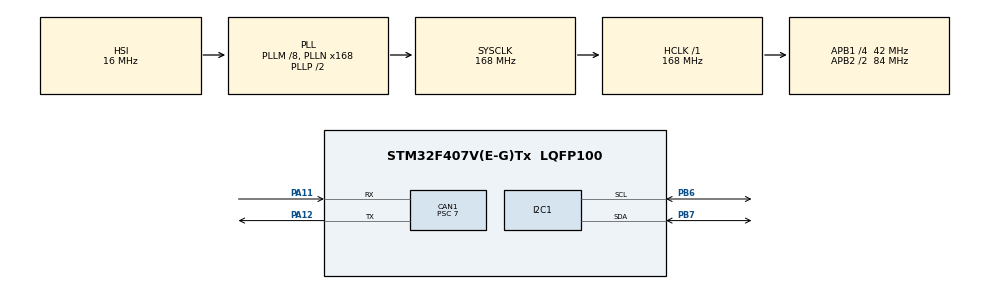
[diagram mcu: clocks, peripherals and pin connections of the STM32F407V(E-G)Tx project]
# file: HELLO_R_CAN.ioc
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CAN1.BS1=CAN_BS1_8TQ
CAN1.BS2=CAN_BS2_3TQ
CAN1.CalculateBaudRate=499999
CAN1.CalculateTimeBit=2000
CAN1.CalculateTimeQuantum=166.66666666666669
CAN1.Prescaler=7
Mcu.Family=STM32F4
Mcu.Name=STM32F407V(E-G)Tx
Mcu.Package=LQFP100
NVIC.PriorityGroup=NVIC_PRIORITYGROUP_0
PA11.Mode=CAN_Activate
PA11.Signal=CAN1_RX
PA12.Mode=CAN_Activate
PA12.Signal=CAN1_TX
PB6.Mode=I2C
PB6.Signal=I2C1_SCL
PB7.Mode=I2C
PB7.Signal=I2C1_SDA
ProjectManager.HeapSize=0x200
ProjectManager.StackSize=0x400
ProjectManager.TargetToolchain=STM32CubeIDE
RCC.48MHZClocksFreq_Value=48000000
RCC.AHBFreq_Value=168000000
RCC.APB1CLKDivider=RCC_HCLK_DIV4
RCC.APB1Freq_Value=42000000
RCC.APB1TimFreq_Value=84000000
RCC.APB2CLKDivider=RCC_HCLK_DIV2
RCC.APB2Freq_Value=84000000
RCC.APB2TimFreq_Value=168000000
RCC.CortexFreq_Value=168000000
RCC.HCLKFreq_Value=168000000
RCC.HSE_VALUE=8000000
RCC.HSI_VALUE=16000000
RCC.PLLM=8
RCC.PLLN=168
RCC.PLLQ=7
RCC.SYSCLKFreq_VALUE=168000000
RCC.SYSCLKSource=RCC_SYSCLKSOURCE_PLLCLK
RCC.VCOOutputFreq_Value=336000000
board=STM32F407G-DISC1

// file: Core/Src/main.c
/* USER CODE BEGIN Header */
/**
  ******************************************************************************
  * @file           : main.c
  * @brief          : Main program body
  ******************************************************************************
  * @attention
  *
  * Copyright (c) 2026 STMicroelectronics.
  * All rights reserved.
  *
  * This software is licensed under terms that can be found in the LICENSE file
  * in the root directory of this software component.
  * If no LICENSE file comes with this software, it is provided AS-IS.
  *
  ******************************************************************************
  */
/* USER CODE END Header */
#include "main.h"

/* USER CODE BEGIN Includes */
#include "lcd.h"
#include <string.h>
/* USER CODE END Includes */

CAN_HandleTypeDef hcan1;

I2C_HandleTypeDef hi2c1;

/* USER CODE BEGIN PV */
/* USER CODE BEGIN PV */

CAN_RxHeaderTypeDef RxHeader;
uint8_t RxData[8];
char msg[9];

/* USER CODE END PV */

void SystemClock_Config(void);
static void MX_GPIO_Init(void);
static void MX_CAN1_Init(void);
static void MX_I2C1_Init(void);

int main(void)
{

  /* MCU Configuration--------------------------------------------------------*/

  /* Reset of all peripherals, Initializes the Flash interface and the Systick. */
  HAL_Init();

  /* Configure the system clock */
  SystemClock_Config();

  /* Initialize all configured peripherals */
  MX_GPIO_Init();
  MX_CAN1_Init();
  MX_I2C1_Init();
  /* USER CODE BEGIN 2 */
  CAN_FilterTypeDef filter;

  filter.FilterBank = 0;
  filter.FilterMode = CAN_FILTERMODE_IDMASK;
  filter.FilterScale = CAN_FILTERSCALE_32BIT;
  filter.FilterIdHigh = 0;
  filter.FilterIdLow = 0;
  filter.FilterMaskIdHigh = 0;
  filter.FilterMaskIdLow = 0;
  filter.FilterFIFOAssignment = CAN_RX_FIFO0;
  filter.FilterActivation = ENABLE;

  HAL_CAN_ConfigFilter(&hcan1, &filter);

  HAL_CAN_Start(&hcan1);

  lcd_init();
  lcd_puts(LCD_LINE1, "LCD OK");
  lcd_clear();
  /* USER CODE END 2 */

  /* Infinite loop *
  while (1)
  {

    /* USER CODE BEGIN 3 */
	  while (1)
	  {
	      if(HAL_CAN_GetRxFifoFillLevel(&hcan1, CAN_RX_FIFO0) > 0)
	      {
	          HAL_CAN_GetRxMessage(&hcan1,
	                               CAN_RX_FIFO0,
	                               &RxHeader,
	                               RxData);

	          memcpy(msg, RxData, RxHeader.DLC);
	          msg[RxHeader.DLC] = '\0';

	          lcd_clear();
	          lcd_puts(LCD_LINE1, msg);
	      }
	  }
  }
  /* USER CODE END 3 */
}

void SystemClock_Config(void)
{
  RCC_OscInitTypeDef RCC_OscInitStruct = {0};
  RCC_ClkInitTypeDef RCC_ClkInitStruct = {0};

  /** Configure the main internal regulator output voltage
  */
  __HAL_RCC_PWR_CLK_ENABLE();
  __HAL_PWR_VOLTAGESCALING_CONFIG(PWR_REGULATOR_VOLTAGE_SCALE1);

  /** Initializes the RCC Oscillators according to the specified parameters
  * in the RCC_OscInitTypeDef structure.
  */
  RCC_OscInitStruct.OscillatorType = RCC_OSCILLATORTYPE_HSI;
  RCC_OscInitStruct.HSIState = RCC_HSI_ON;
  RCC_OscInitStruct.HSICalibrationValue = RCC_HSICALIBRATION_DEFAULT;
  RCC_OscInitStruct.PLL.PLLState = RCC_PLL_ON;
  RCC_OscInitStruct.PLL.PLLSource = RCC_PLLSOURCE_HSI;
  RCC_OscInitStruct.PLL.PLLM = 8;
  RCC_OscInitStruct.PLL.PLLN = 168;
  RCC_OscInitStruct.PLL.PLLP = RCC_PLLP_DIV2;
  RCC_OscInitStruct.PLL.PLLQ = 7;
  if (HAL_RCC_OscConfig(&RCC_OscInitStruct) != HAL_OK)
  {
    Error_Handler();
  }

  /** Initializes the CPU, AHB and APB buses clocks
  */
  RCC_ClkInitStruct.ClockType = RCC_CLOCKTYPE_HCLK|RCC_CLOCKTYPE_SYSCLK
                              |RCC_CLOCKTYPE_PCLK1|RCC_CLOCKTYPE_PCLK2;
  RCC_ClkInitStruct.SYSCLKSource = RCC_SYSCLKSOURCE_PLLCLK;
  RCC_ClkInitStruct.AHBCLKDivider = RCC_SYSCLK_DIV1;
  RCC_ClkInitStruct.APB1CLKDivider = RCC_HCLK_DIV4;
  RCC_ClkInitStruct.APB2CLKDivider = RCC_HCLK_DIV2;

  if (HAL_RCC_ClockConfig(&RCC_ClkInitStruct, FLASH_LATENCY_5) != HAL_OK)
  {
    Error_Handler();
  }
}

static void MX_CAN1_Init(void)
{

  hcan1.Instance = CAN1;
  hcan1.Init.Prescaler = 7;
  hcan1.Init.Mode = CAN_MODE_NORMAL;
  hcan1.Init.SyncJumpWidth = CAN_SJW_1TQ;
  hcan1.Init.TimeSeg1 = CAN_BS1_8TQ;
  hcan1.Init.TimeSeg2 = CAN_BS2_3TQ;
  hcan1.Init.TimeTriggeredMode = DISABLE;
  hcan1.Init.AutoBusOff = DISABLE;
  hcan1.Init.AutoWakeUp = DISABLE;
  hcan1.Init.AutoRetransmission = DISABLE;
  hcan1.Init.ReceiveFifoLocked = DISABLE;
  hcan1.Init.TransmitFifoPriority = DISABLE;
  if (HAL_CAN_Init(&hcan1) != HAL_OK)
  {
    Error_Handler();
  }

}

static void MX_I2C1_Init(void)
{

  hi2c1.Instance = I2C1;
  hi2c1.Init.ClockSpeed = 100000;
  hi2c1.Init.DutyCycle = I2C_DUTYCYCLE_2;
  hi2c1.Init.OwnAddress1 = 0;
  hi2c1.Init.AddressingMode = I2C_ADDRESSINGMODE_7BIT;
  hi2c1.Init.DualAddressMode = I2C_DUALADDRESS_DISABLE;
  hi2c1.Init.OwnAddress2 = 0;
  hi2c1.Init.GeneralCallMode = I2C_GENERALCALL_DISABLE;
  hi2c1.Init.NoStretchMode = I2C_NOSTRETCH_DISABLE;
  if (HAL_I2C_Init(&hi2c1) != HAL_OK)
  {
    Error_Handler();
  }

}

static void MX_GPIO_Init(void)
{

  /* GPIO Ports Clock Enable */
  __HAL_RCC_GPIOA_CLK_ENABLE();
  __HAL_RCC_GPIOB_CLK_ENABLE();

}

void Error_Handler(void)
{
  __disable_irq();
  while (1)
  {
  }
}
